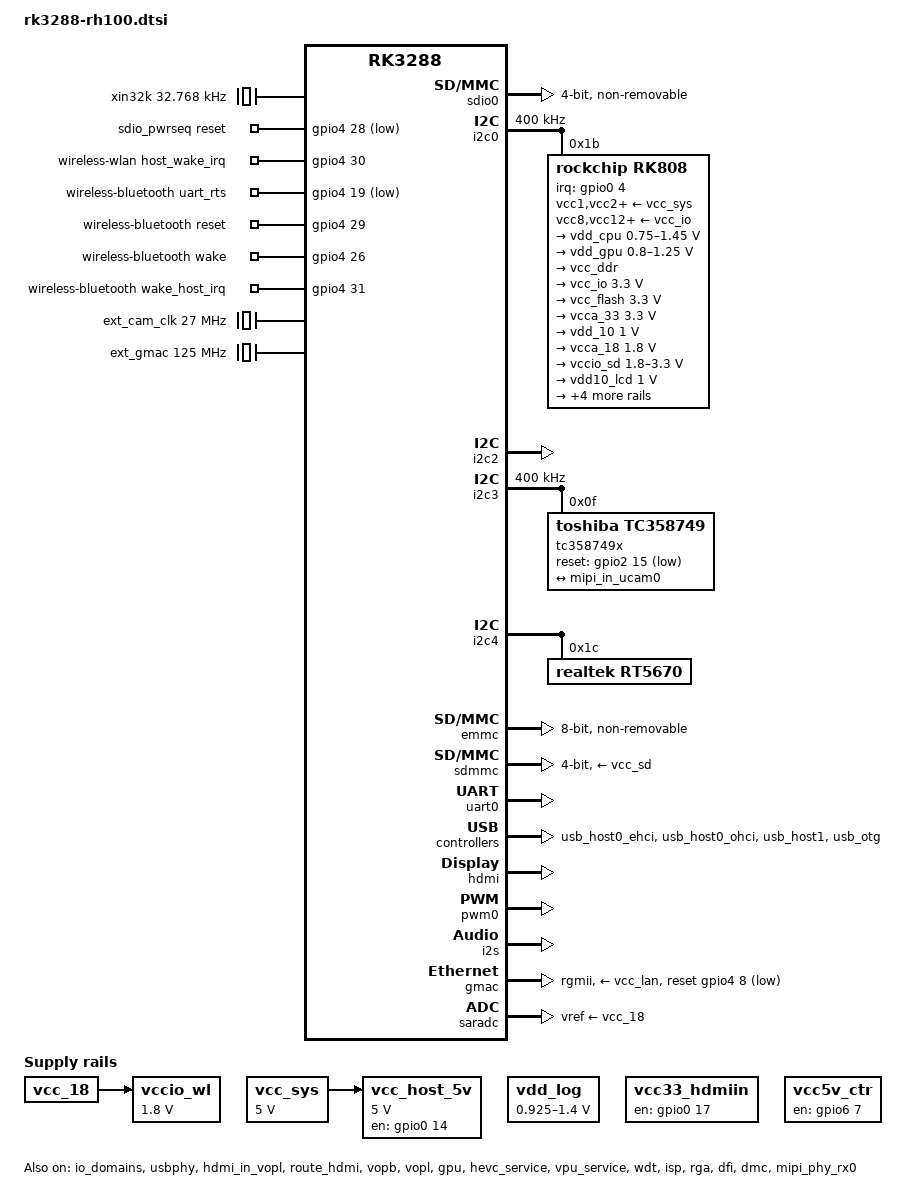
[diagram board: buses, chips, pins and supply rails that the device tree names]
/*
 * Copyright (c) 2018 Fuzhou Rockchip Electronics Co., Ltd
 *
 * SPDX-License-Identifier: (GPL-2.0+ OR MIT).
 */

/dts-v1/;
#include "rk3288.dtsi"
#include "rk3288-android.dtsi"

/ {
	vcc_sys: vsys-regulator {
		compatible = "regulator-fixed";
		regulator-name = "vcc_sys";
		regulator-min-microvolt = <5000000>;
		regulator-max-microvolt = <5000000>;
		regulator-always-on;
		regulator-boot-on;
	};

	vdd_log: vdd-log {
		compatible = "pwm-regulator";
		regulator-name = "vdd_log";
		rockchip,pwm_id = <1>;
		rockchip,pwm_voltage = <1100000>;
		pwms = <&pwm1 0 25000 1>;
		regulator-min-microvolt = <925000>;
		regulator-max-microvolt = <1400000>;
		regulator-always-on;
		regulator-boot-on;
	};

	vccio_wl: flash-regulator {
		compatible = "regulator-fixed";
		regulator-name = "vccio_wl";
		regulator-min-microvolt = <1800000>;
		regulator-max-microvolt = <1800000>;
		vin-supply = <&vcc_18>;
	};

	vcc33_hdmiin: vcc33-hdmiin-regulator {
		compatible = "regulator-fixed";
		regulator-name = "vcc33_hdmiin";
		enable-active-high;
		gpio = <&gpio0 17 GPIO_ACTIVE_HIGH>;
		pinctrl-names = "default";
		pinctrl-0 = <&hdmiin_pwren>;
		regulator-always-on;
		regulator-boot-on;
	};

	vcc5v_ctr: vcc33-hdmiin-regulator {
		compatible = "regulator-fixed";
		regulator-name = "vcc5v_ctr";
		enable-active-high;
		gpio = <&gpio6 7 GPIO_ACTIVE_HIGH>;
		pinctrl-names = "default";
		pinctrl-0 = <&vcc5v_ctr_pwren>;
		regulator-always-on;
		regulator-boot-on;
	};

	vcc_host_5v: usb-host-regulator {
		compatible = "regulator-fixed";
		enable-active-high;
		gpio = <&gpio0 14 GPIO_ACTIVE_HIGH>;
		pinctrl-names = "default";
		pinctrl-0 = <&host_vbus_drv>;
		regulator-name = "vcc_host_5v";
		regulator-min-microvolt = <5000000>;
		regulator-max-microvolt = <5000000>;
		regulator-always-on;
		vin-supply = <&vcc_sys>;
	};
	/*
	vcc_otg_5v: usb-otg-regulator {
		compatible = "regulator-fixed";
		enable-active-high;
		gpio = <&gpio0 12 GPIO_ACTIVE_HIGH>;
		pinctrl-names = "default";
		pinctrl-0 = <&otg_vbus_drv>;
		regulator-name = "vcc_otg_5v";
		regulator-min-microvolt = <5000000>;
		regulator-max-microvolt = <5000000>;
		regulator-always-on;
		vin-supply = <&vcc_sys>;
	};
	*/

	xin32k: xin32k {
		compatible = "fixed-clock";
		clock-frequency = <32768>;
		clock-output-names = "xin32k";
		#clock-cells = <0>;
	};

	sdio_pwrseq: sdio-pwrseq {
		compatible = "mmc-pwrseq-simple";
		clocks = <&rk808 1>;
		clock-names = "ext_clock";

		/*
		 * On the module itself this is one of these (depending
		 * on the actual card populated):
		 * - SDIO_RESET_L_WL_REG_ON
		 * - PDN (power down when low)
		 */
		reset-gpios = <&gpio4 28 GPIO_ACTIVE_LOW>;
	};

	wireless-wlan {
		compatible = "wlan-platdata";
		wifi_chip_type = "ap6335";
		rockchip,grf = <&grf>;
                sdio_vref = <1800>;
		WIFI,host_wake_irq = <&gpio4 30 GPIO_ACTIVE_HIGH>;
		status = "okay";
	};

	wireless-bluetooth {
		compatible = "bluetooth-platdata";
		uart_rts_gpios = <&gpio4 19 GPIO_ACTIVE_LOW>;
		pinctrl-names = "default", "rts_gpio";
		pinctrl-0 = <&uart0_rts>;
		pinctrl-1 = <&uart0_gpios>;
		BT,reset_gpio    = <&gpio4 29 GPIO_ACTIVE_HIGH>;
		BT,wake_gpio     = <&gpio4 26 GPIO_ACTIVE_HIGH>;
		BT,wake_host_irq = <&gpio4 31 GPIO_ACTIVE_HIGH>;
		status = "okay";
	};

	ext_cam_clk: external-camera-clock {
		compatible = "fixed-clock";
		clock-frequency = <27000000>;
		clock-output-names = "CLK_CAMERA_27MHZ";
		#clock-cells = <0>;
	};

	ext_gmac: external-gmac-clock {
		compatible = "fixed-clock";
		clock-frequency = <125000000>;
		clock-output-names = "ext_gmac";
		#clock-cells = <0>;
	};
	
	rockchip-rt5670 {
		compatible = "rockchip-rt5670";
		dais {
			dai0 {
				audio-codec = <&rt5670>;
				audio-controller = <&i2s>;
				format = "i2s";
			};
			dai1 {
				audio-codec = <&rt5670>;
				audio-controller = <&i2s>;
				format = "i2s";
			};
		};
	};
};

&sdio0 {
	status = "okay";
	max-frequency = <150000000>;

	bus-width = <4>;
	cap-sd-highspeed;
	cap-sdio-irq;
	disable-wp;
	keep-power-in-suspend;
	mmc-pwrseq = <&sdio_pwrseq>;
	non-removable;
	num-slots = <1>;
	pinctrl-names = "default";
	pinctrl-0 = <&sdio0_bus4 &sdio0_cmd &sdio0_clk &sdio0_int>;
	sd-uhs-sdr104;
	supports-sdio;
};

&i2c0 {
	status = "okay";
	clock-frequency = <400000>;

	rk808: pmic@1b {
		compatible = "rockchip,rk808";
		reg = <0x1b>;
		status = "okay";

		clock-output-names = "rk808-clkout1", "wifibt_32kin";
		interrupt-parent = <&gpio0>;
		interrupts = <4 IRQ_TYPE_LEVEL_LOW>;
		pinctrl-names = "default";
		pinctrl-0 = <&pmic_int>;
		rockchip,system-power-controller;
		wakeup-source;
		#clock-cells = <1>;

		vcc1-supply = <&vcc_sys>;
		vcc2-supply = <&vcc_sys>;
		vcc3-supply = <&vcc_sys>;
		vcc4-supply = <&vcc_sys>;
		vcc6-supply = <&vcc_sys>;
		vcc7-supply = <&vcc_sys>;
		vcc8-supply = <&vcc_io>;
		vcc9-supply = <&vcc_sys>;
		vcc12-supply = <&vcc_io>;
		vddio-supply = <&vcc_io>;

		regulators {
			vdd_cpu: DCDC_REG1 {
				regulator-name = "vdd_arm";
				regulator-always-on;
				regulator-boot-on;
				regulator-min-microvolt = <750000>;
				regulator-max-microvolt = <1450000>;
				regulator-ramp-delay = <6001>;
				regulator-state-mem {
					regulator-off-in-suspend;
				};
			};

			vdd_gpu: DCDC_REG2 {
				regulator-name = "vdd_gpu";
				regulator-always-on;
				regulator-boot-on;
				regulator-min-microvolt = <800000>;
				regulator-max-microvolt = <1250000>;
				regulator-ramp-delay = <6001>;
				regulator-state-mem {
					regulator-on-in-suspend;
					regulator-suspend-microvolt = <1000000>;
				};
			};

			vcc_ddr: DCDC_REG3 {
				regulator-always-on;
				regulator-boot-on;
				regulator-name = "vcc_ddr";
				regulator-state-mem {
					regulator-on-in-suspend;
				};
			};

			vcc_io: DCDC_REG4 {
				regulator-always-on;
				regulator-boot-on;
				regulator-min-microvolt = <3300000>;
				regulator-max-microvolt = <3300000>;
				regulator-name = "vcc_io";
				regulator-state-mem {
					regulator-on-in-suspend;
					regulator-suspend-microvolt = <3300000>;
				};
			};

			vcc_flash: LDO_REG1 {
				regulator-always-on;
				regulator-boot-on;
				regulator-min-microvolt = <3300000>;
				regulator-max-microvolt = <3300000>;
				regulator-name = "vcc_flash";
				regulator-state-mem {
					regulator-off-in-suspend;
				};
			};

			vcca_33: LDO_REG2 {
				regulator-always-on;
				regulator-boot-on;
				regulator-min-microvolt = <3300000>;
				regulator-max-microvolt = <3300000>;
				regulator-name = "vcca_33";
				regulator-state-mem {
					regulator-on-in-suspend;
					regulator-suspend-microvolt = <3300000>;
				};
			};

			vdd_10: LDO_REG3 {
				regulator-always-on;
				regulator-boot-on;
				regulator-min-microvolt = <1000000>;
				regulator-max-microvolt = <1000000>;
				regulator-name = "vdd_10";
				regulator-state-mem {
					regulator-on-in-suspend;
					regulator-suspend-microvolt = <1000000>;
				};
			};

			vcca_18: LDO_REG4 {
				regulator-always-on;
				regulator-boot-on;
				regulator-min-microvolt = <1800000>;
				regulator-max-microvolt = <1800000>;
				regulator-name = "vcca_18";
				regulator-state-mem {
					regulator-off-in-suspend;
				};
			};

			vccio_sd: LDO_REG5 {
				regulator-always-on;
				regulator-boot-on;
				regulator-min-microvolt = <1800000>;
				regulator-max-microvolt = <3300000>;
				regulator-name = "vccio_sd";
				regulator-state-mem {
					regulator-on-in-suspend;
					regulator-suspend-microvolt = <3300000>;
				};
			};

			vdd10_lcd: LDO_REG6 {
				regulator-always-on;
				regulator-boot-on;
				regulator-min-microvolt = <1000000>;
				regulator-max-microvolt = <1000000>;
				regulator-name = "vdd10_lcd";
				regulator-state-mem {
					regulator-off-in-suspend;
				};
			};

			vcc_18: LDO_REG7 {
				regulator-always-on;
				regulator-boot-on;
				regulator-min-microvolt = <1800000>;
				regulator-max-microvolt = <1800000>;
				regulator-name = "vcc_18";
				regulator-state-mem {
					regulator-on-in-suspend;
					regulator-suspend-microvolt = <1800000>;
				};
			};

			vcc18_lcd: LDO_REG8 {
				regulator-always-on;
				regulator-boot-on;
				regulator-min-microvolt = <1800000>;
				regulator-max-microvolt = <1800000>;
				regulator-name = "vcc18_lcd";
				regulator-state-mem {
					regulator-off-in-suspend;
				};
			};

			vcc_sd: SWITCH_REG1 {
				regulator-always-on;
				regulator-boot-on;
				regulator-name = "vcc_sd";
				regulator-state-mem {
					regulator-on-in-suspend;
				};
			};

			vcc_lan: SWITCH_REG2 {
				regulator-always-on;
				regulator-boot-on;
				regulator-name = "vcc_lan";
				regulator-state-mem {
					regulator-on-in-suspend;
				};
			};
		};

	};
};

&io_domains {
	status = "okay";

	audio-supply = <&vcca_33>; 
	bb-supply = <&vcca_33>;
	dvp-supply = <&vcc33_hdmiin>;
	flash0-supply = <&vcc_flash>;
	flash1-supply = <&vcc_lan>;
	gpio30-supply = <&vcc_io>;
	gpio1830 = <&vcc_io>;
	lcdc-supply = <&vcc_io>;
	sdcard-supply = <&vccio_sd>;
	wifi-supply = <&vccio_wl>;
};

&i2c2 {
	status = "okay";
};

&i2c3 {
	status = "okay";
	clock-frequency = <400000>;

	tc358749x: tc358749x@f {
		status = "okay";
		compatible = "toshiba,tc358749";
		reg = <0x0f>;

		clocks = <&ext_cam_clk>;
		clock-names = "refclk";

		pinctrl-names = "default";
		pinctrl-0 = <&hdmiin_gpios>;

		reset-gpios = <&gpio2 15 GPIO_ACTIVE_LOW>;

		rockchip,camera-module-index = <0>;
		rockchip,camera-module-facing = "back";
		rockchip,camera-module-name = "CMK-CT0116";
		rockchip,camera-module-lens-name = "Largan-50013A1";
		port {
			hdmiin_out0: endpoint {
				/* Unlinked mipi dphy rx0 */
				remote-endpoint = <&mipi_in_ucam0>;
				data-lanes = <1 2 3 4>;
				clock-noncontinuous;
				link-frequencies =
					/bits/ 64 <297000000>;
			};
		};
	};
};

&i2c4 {
	status = "okay";
	//clock-frequency = <400000>;

	rt5670: rt5670@1c {
		#sound-dai-cells = <0>;
		compatible = "realtek,rt5670";
		reg = <0x1c>;
		status = "okay";
	};
};

&emmc {
	bus-width = <8>;
	cap-mmc-highspeed;
	disable-wp;
	non-removable;
	num-slots = <1>;
	pinctrl-names = "default";
	pinctrl-0 = <&emmc_clk &emmc_cmd &emmc_pwr &emmc_bus8>;
	max-frequency = <100000000>;
	mmc-hs200-1_8v;
	mmc-ddr-1_8v;
	status = "okay";
};

&sdmmc {
	supports-sd;
	bus-width = <4>;
	cap-mmc-highspeed;
	sd-uhs-sdr12;
	sd-uhs-sdr25;
	sd-uhs-sdr50;
	sd-uhs-sdr104;
	cap-sd-highspeed;
	card-detect-delay = <200>;
	disable-wp;			/* wp not hooked up */
	num-slots = <1>;
	pinctrl-names = "default";
	pinctrl-0 = <&sdmmc_clk &sdmmc_cmd &sdmmc_cd &sdmmc_bus4>;
	status = "okay";
	vmmc-supply = <&vcc_sd>;
	vqmmc-supply = <&vccio_sd>;
	supports-sd;
};

&uart0 {
	pinctrl-names = "default";
	pinctrl-0 = <&uart0_xfer &uart0_cts>;
	status = "okay";
};

&usbphy {
	status = "okay";
};

&usb_host0_ehci {
	rockchip-relinquish-port;
	status = "okay";
};

&usb_host0_ohci {
	status = "okay";
};

&usb_host1 {
	status = "okay";
};

&usb_otg {
	status = "okay";
};

&hdmi_in_vopl {
	status = "okay";
};

&hdmi_in_vopb {
	status = "disabled";
};

&hdmi {
	#address-cells = <1>;
	#size-cells = <0>;
	#sound-dai-cells = <0>;
	status = "okay";
};

&route_hdmi {
	connect = <&vopl_out_hdmi>;
	status = "okay";
};

&vopb {
	status = "okay";
};

&vopb_mmu {
	status = "okay";
};

&vopl {
	status = "okay";
};

&vopl_mmu {
	status = "okay";
};

&gpu {
	status = "okay";
	mali-supply = <&vdd_gpu>;
};

&hevc_service {
	status = "okay";
};

&vpu_service {
	status = "okay";
};

&wdt {
	status = "okay";
};

&pwm0 {
	status = "okay";
};

&isp {
	status = "okay";
	port {
		isp_mipi_in: endpoint {
			remote-endpoint = <&dphy_rx0_out>;
		};
	};
};

&isp_mmu {
	status = "okay";
};

&rga {
	status = "okay";
};

&cpu0 {
	cpu-supply = <&vdd_cpu>;
};

&dfi {
	status = "okay";
};

&dmc {
	center-supply = <&vdd_log>;
	status = "okay";
};

&i2s {
	status = "okay";
	#sound-dai-cells = <0>;
	clock-names = "i2s_clk","i2s_mclk", "i2s_hclk";
	clocks = <&cru SCLK_I2S0>, <&cru SCLK_I2S0_OUT>, <&cru HCLK_I2S0>;
	pinctrl-0 = <&i2s0_bus>,<&i2s0_mclk>;
	power-domains = <&power RK3288_PD_VIO>;
};

&mipi_phy_rx0 {
	status = "okay";

	ports {
		#address-cells = <1>;
		#size-cells = <0>;
		port@0 {
			reg = <0>;
			#address-cells = <1>;
			#size-cells = <0>;

			mipi_in_ucam0: endpoint@1 {
				reg = <1>;
				remote-endpoint = <&hdmiin_out0>;
				data-lanes = <1 2 3 4>;
			};
		};

		port@1 {
			reg = <1>;
			#address-cells = <1>;
			#size-cells = <0>;

			dphy_rx0_out: endpoint@0 {
				reg = <0>;
				remote-endpoint = <&isp_mipi_in>;
			};
		};
	};
};

&gmac {
	phy-supply = <&vcc_lan>;
	phy-mode = "rgmii";
	clock_in_out = "input";
	snps,reset-gpio = <&gpio4 8 0>;
	snps,reset-active-low;
	snps,reset-delays-us = <0 10000 50000>;
	assigned-clocks = <&cru SCLK_MAC>;
	assigned-clock-parents = <&ext_gmac>;
	pinctrl-names = "default";
	pinctrl-0 = <&rgmii_pins>;
	tx_delay = <0x30>;
	rx_delay = <0x10>;
	max-speed = <100>;
	status = "okay";
};

&tsadc {
	rockchip,hw-tshut-mode = <0>; /* tshut mode 0:CRU 1:GPIO */
	rockchip,hw-tshut-polarity = <1>; /* tshut polarity 0:LOW 1:HIGH */
	pinctrl-1 = <&otp_gpio>;
};

&saradc {
	vref-supply = <&vcc_18>;
	status = "okay";
};

&rockchip_suspend {
	status = "okay";
};

&hdmi_analog_sound {
	status = "disabled";
	rockchip,model = "rockchip,rt5670-codec";
	rockchip,codec = <&rt5670>, <&hdmi>;
};

&pinctrl {
	pcfg_output_high: pcfg-output-high {
		output-high;
	};

	pcfg_output_low: pcfg-output-low {
		output-low;
	};

	pcfg_pull_none_drv_8ma: pcfg-pull-none-drv-8ma {
		drive-strength = <8>;
	};

	pcfg_pull_up_drv_8ma: pcfg-pull-up-drv-8ma {
		bias-pull-up;
		drive-strength = <8>;
	};

	pmic {
		pmic_int: pmic-int {
			rockchip,pins = <RK_GPIO0 4 RK_FUNC_GPIO &pcfg_pull_up>;
		};
	};

	hdmiin {
		hdmiin_pwren: hdmiin-pwren  {
			rockchip,pins = <0 17 RK_FUNC_GPIO &pcfg_pull_up>;
		};
		hdmiin_gpios: hdmiin-gpios {
			rockchip,pins =
				// <0 17 RK_FUNC_GPIO &pcfg_output_high>, // HDMIIN_PWREN
				<2 15 RK_FUNC_GPIO &pcfg_output_high>, // HDMIIN_RST
				<2 6 RK_FUNC_GPIO &pcfg_output_high>, // HDMIIN_STBY
				<2 7 RK_FUNC_GPIO &pcfg_pull_none>; //HDMIIN_INT
				
		};
	};

	vcc5v_ctr_pwren: vcc5v-ctr-pwren {
		rockchip,pins = <7 7 RK_FUNC_GPIO &pcfg_pull_up>;
	};

	sdmmc {
		/*
		 * Default drive strength isn't enough to achieve even
		 * high-speed mode on EVB board so bump up to 8ma.
		 */
		sdmmc_bus4: sdmmc-bus4 {
			rockchip,pins = <6 16 RK_FUNC_1 &pcfg_pull_up_drv_8ma>,
					<6 17 RK_FUNC_1 &pcfg_pull_up_drv_8ma>,
					<6 18 RK_FUNC_1 &pcfg_pull_up_drv_8ma>,
					<6 19 RK_FUNC_1 &pcfg_pull_up_drv_8ma>;
		};

		sdmmc_clk: sdmmc-clk {
			rockchip,pins = <6 20 RK_FUNC_1 &pcfg_pull_none_drv_8ma>;
		};

		sdmmc_cmd: sdmmc-cmd {
			rockchip,pins = <6 21 RK_FUNC_1 &pcfg_pull_up_drv_8ma>;
		};

		sdmmc_pwr: sdmmc-pwr {
			rockchip,pins = <7 11 RK_FUNC_GPIO &pcfg_pull_none>;
		};
	};

	usb_host {
		host_vbus_drv: host-vbus-drv {
			rockchip,pins = <0 14 RK_FUNC_GPIO &pcfg_pull_none>;
		};
	};

	usb_otg {
		otg_vbus_drv: otg-vbus-drv {
			rockchip,pins = <0 12 RK_FUNC_GPIO &pcfg_pull_none>;
		};
	};

	wireless-bluetooth {
		uart0_gpios: uart0-gpios {
			rockchip,pins = <4 19 RK_FUNC_GPIO &pcfg_pull_none>;
		};
	};
};
